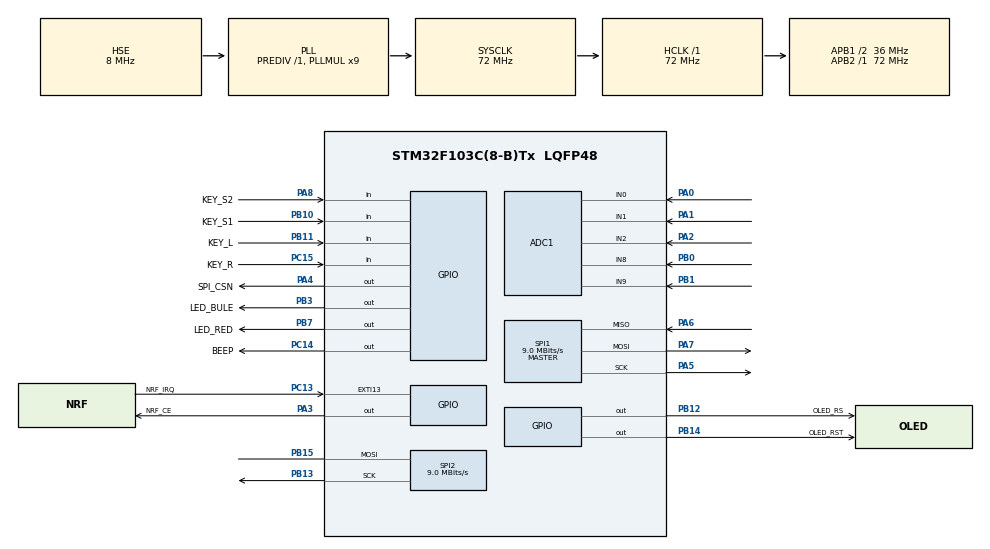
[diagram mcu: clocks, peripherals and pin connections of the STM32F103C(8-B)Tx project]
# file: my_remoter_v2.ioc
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ADC1.Channel-0\#ChannelRegularConversion=ADC_CHANNEL_0
ADC1.Channel-1\#ChannelRegularConversion=ADC_CHANNEL_1
ADC1.Channel-2\#ChannelRegularConversion=ADC_CHANNEL_2
ADC1.Channel-3\#ChannelRegularConversion=ADC_CHANNEL_8
ADC1.Channel-4\#ChannelRegularConversion=ADC_CHANNEL_9
ADC1.ContinuousConvMode=ENABLE
ADC1.NbrOfConversion=5
ADC1.NbrOfConversionFlag=1
ADC1.Rank-0\#ChannelRegularConversion=1
ADC1.Rank-1\#ChannelRegularConversion=2
ADC1.Rank-2\#ChannelRegularConversion=3
ADC1.Rank-3\#ChannelRegularConversion=4
ADC1.Rank-4\#ChannelRegularConversion=5
ADC1.SamplingTime-0\#ChannelRegularConversion=ADC_SAMPLETIME_239CYCLES_5
ADC1.SamplingTime-1\#ChannelRegularConversion=ADC_SAMPLETIME_239CYCLES_5
ADC1.SamplingTime-2\#ChannelRegularConversion=ADC_SAMPLETIME_239CYCLES_5
ADC1.SamplingTime-3\#ChannelRegularConversion=ADC_SAMPLETIME_239CYCLES_5
ADC1.SamplingTime-4\#ChannelRegularConversion=ADC_SAMPLETIME_239CYCLES_5
ADC1.master=1
Dma.ADC1.0.Direction=DMA_PERIPH_TO_MEMORY
Dma.ADC1.0.Instance=DMA1_Channel1
Dma.ADC1.0.MemDataAlignment=DMA_MDATAALIGN_HALFWORD
Dma.ADC1.0.MemInc=DMA_MINC_ENABLE
Dma.ADC1.0.Mode=DMA_CIRCULAR
Dma.ADC1.0.PeriphDataAlignment=DMA_PDATAALIGN_HALFWORD
Dma.ADC1.0.PeriphInc=DMA_PINC_DISABLE
Dma.ADC1.0.Priority=DMA_PRIORITY_HIGH
Dma.Request0=ADC1
Mcu.Family=STM32F1
Mcu.Name=STM32F103C(8-B)Tx
Mcu.Package=LQFP48
NVIC.DMA1_Channel1_IRQn=true\:0\:0\:false\:false\:true\:false\:true\:true
NVIC.EXTI15_10_IRQn=true\:6\:0\:true\:false\:true\:true\:true\:true
NVIC.PriorityGroup=NVIC_PRIORITYGROUP_4
NVIC.TIM4_IRQn=true\:15\:0\:false\:false\:true\:false\:true\:true
NVIC.TimeBase=TIM4_IRQn
NVIC.TimeBaseIP=TIM4
PA0-WKUP.Signal=ADCx_IN0
PA1.Signal=ADCx_IN1
PA13.Mode=Serial_Wire
PA13.Signal=SYS_JTMS-SWDIO
PA14.Mode=Serial_Wire
PA14.Signal=SYS_JTCK-SWCLK
PA2.Signal=ADCx_IN2
PA3.GPIO_Label=NRF_CE
PA3.GPIO_Speed=GPIO_SPEED_FREQ_HIGH
PA3.Signal=GPIO_Output
PA4.GPIO_Label=SPI_CSN
PA4.GPIO_Speed=GPIO_SPEED_FREQ_HIGH
PA4.PinState=GPIO_PIN_SET
PA4.Signal=GPIO_Output
PA5.Mode=Full_Duplex_Master
PA5.Signal=SPI1_SCK
PA6.Mode=Full_Duplex_Master
PA6.Signal=SPI1_MISO
PA7.Mode=Full_Duplex_Master
PA7.Signal=SPI1_MOSI
PA8.GPIO_Label=KEY_S2
PA8.GPIO_PuPd=GPIO_PULLUP
PA8.Signal=GPIO_Input
PB0.Signal=ADCx_IN8
PB1.Signal=ADCx_IN9
PB10.GPIO_Label=KEY_S1
PB10.GPIO_PuPd=GPIO_PULLUP
PB10.Signal=GPIO_Input
PB11.GPIO_Label=KEY_L
PB11.GPIO_PuPd=GPIO_PULLUP
PB11.Signal=GPIO_Input
PB12.GPIO_Label=OLED_RS
PB12.GPIO_Speed=GPIO_SPEED_FREQ_HIGH
PB12.PinState=GPIO_PIN_SET
PB12.Signal=GPIO_Output
PB13.Mode=Simplex_Bidirectional_Master
PB13.Signal=SPI2_SCK
PB14.GPIO_Label=OLED_RST
PB14.GPIO_Speed=GPIO_SPEED_FREQ_HIGH
PB14.PinState=GPIO_PIN_SET
PB14.Signal=GPIO_Output
PB15.Mode=Simplex_Bidirectional_Master
PB15.Signal=SPI2_MOSI
PB3.GPIO_Label=LED_BULE
PB3.GPIO_Speed=GPIO_SPEED_FREQ_HIGH
PB3.PinState=GPIO_PIN_SET
PB3.Signal=GPIO_Output
PB7.GPIO_Label=LED_RED
PB7.GPIO_Speed=GPIO_SPEED_FREQ_HIGH
PB7.PinState=GPIO_PIN_SET
PB7.Signal=GPIO_Output
PC13-TAMPER-RTC.GPIO_Label=NRF_IRQ
PC13-TAMPER-RTC.GPIO_ModeDefaultEXTI=GPIO_MODE_IT_FALLING
PC13-TAMPER-RTC.GPIO_PuPd=GPIO_PULLUP
PC13-TAMPER-RTC.Signal=GPXTI13
PC14-OSC32_IN.GPIO_Label=BEEP
PC14-OSC32_IN.GPIO_Speed=GPIO_SPEED_FREQ_HIGH
PC14-OSC32_IN.PinState=GPIO_PIN_RESET
PC14-OSC32_IN.Signal=GPIO_Output
PC15-OSC32_OUT.GPIO_Label=KEY_R
PC15-OSC32_OUT.GPIO_PuPd=GPIO_PULLUP
PC15-OSC32_OUT.Signal=GPIO_Input
PD0-OSC_IN.Mode=HSE-External-Oscillator
PD0-OSC_IN.Signal=RCC_OSC_IN
PD1-OSC_OUT.Mode=HSE-External-Oscillator
PD1-OSC_OUT.Signal=RCC_OSC_OUT
ProjectManager.HeapSize=0x200
ProjectManager.StackSize=0x400
ProjectManager.TargetToolchain=MDK-ARM V5.32
RCC.ADCPresc=RCC_ADCPCLK2_DIV6
RCC.AHBFreq_Value=72000000
RCC.APB1CLKDivider=RCC_HCLK_DIV2
RCC.APB1Freq_Value=36000000
RCC.APB1TimFreq_Value=72000000
RCC.APB2Freq_Value=72000000
RCC.APB2TimFreq_Value=72000000
RCC.HCLKFreq_Value=72000000
RCC.PLLMUL=RCC_PLL_MUL9
RCC.PLLSourceVirtual=RCC_PLLSOURCE_HSE
RCC.SYSCLKFreq_VALUE=72000000
RCC.SYSCLKSource=RCC_SYSCLKSOURCE_PLLCLK
RCC.USBFreq_Value=72000000
SH.ADCx_IN0.0=ADC1_IN0,IN0
SH.ADCx_IN1.0=ADC1_IN1,IN1
SH.ADCx_IN2.0=ADC1_IN2,IN2
SH.ADCx_IN8.0=ADC1_IN8,IN8
SH.ADCx_IN9.0=ADC1_IN9,IN9
SPI1.BaudRatePrescaler=SPI_BAUDRATEPRESCALER_8
SPI1.CRCCalculation=SPI_CRCCALCULATION_DISABLE
SPI1.CalculateBaudRate=9.0 MBits/s
SPI1.Direction=SPI_DIRECTION_2LINES
SPI1.Mode=SPI_MODE_MASTER
SPI1.VirtualType=VM_MASTER
SPI2.BaudRatePrescaler=SPI_BAUDRATEPRESCALER_4
SPI2.CLKPhase=SPI_PHASE_2EDGE
SPI2.CLKPolarity=SPI_POLARITY_HIGH
SPI2.CalculateBaudRate=9.0 MBits/s
SPI2.Direction=SPI_DIRECTION_1LINE
SPI2.Mode=SPI_MODE_MASTER
SPI2.VirtualType=VM_MASTER
VP_SYS_VS_tim4.Mode=TIM4
board=custom

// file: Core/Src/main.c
/* USER CODE BEGIN Header */
/**
  ******************************************************************************
  * @file           : main.c
  * @brief          : Main program body
  ******************************************************************************
  * @attention
  *
  * Copyright (c) 2026 STMicroelectronics.
  * All rights reserved.
  *
  * This software is licensed under terms that can be found in the LICENSE file
  * in the root directory of this software component.
  * If no LICENSE file comes with this software, it is provided AS-IS.
  *
  ******************************************************************************
  */
/* USER CODE END Header */
#include "main.h"
#include "adc.h"
#include "dma.h"
#include "spi.h"
#include "gpio.h"

/* USER CODE BEGIN Includes */
#include "led.h"
#include "key.h"
#include "oled.h"
#include "24l01.h"
#include "adc.h"
#include "hw_config.h"
#include "config_param.h"
#include "beep.h"
#include "radiolink.h"
#include "usblink.h"
#include "remoter_ctrl.h"
#include "atkp.h"
#include "display.h"
#include "keyTask.h"
/* FreeRtos includes */
#include "FreeRTOS.h"
#include "task.h"
/* USER CODE END Includes */

/* USER CODE BEGIN PV */
static TaskHandle_t startTaskHandle;
static void startTask(void *param);
/* USER CODE END PV */

void SystemClock_Config(void);

int main(void)
{

  /* MCU Configuration--------------------------------------------------------*/

  /* Reset of all peripherals, Initializes the Flash interface and the Systick. */
  HAL_Init();

  /* Configure the system clock */
  SystemClock_Config();

  /* Initialize all configured peripherals */
  MX_GPIO_Init();
  MX_DMA_Init();
  MX_SPI2_Init();
  MX_SPI1_Init();
  MX_ADC1_Init();
  /* USER CODE BEGIN 2 */

  /*Hardware Init*/

	configParamInit();
	//ledInit();
	oledInit();
	beepInit();
	//keyInit();
	joystickInit();
	//usb_vcp_init();

	radiolinkInit();
	usblinkInit();
	displayInit();

  /*work code*/
	xTaskCreate(startTask, "START_TASK", 100, NULL, 2, &startTaskHandle);/*������ʼ����*/
	vTaskStartScheduler();

  /* USER CODE END 2 */

  /* Infinite loop */
  while (1)
  {

  }
}

void SystemClock_Config(void)
{
  RCC_OscInitTypeDef RCC_OscInitStruct = {0};
  RCC_ClkInitTypeDef RCC_ClkInitStruct = {0};
  RCC_PeriphCLKInitTypeDef PeriphClkInit = {0};

  /** Initializes the RCC Oscillators according to the specified parameters
  * in the RCC_OscInitTypeDef structure.
  */
  RCC_OscInitStruct.OscillatorType = RCC_OSCILLATORTYPE_HSE;
  RCC_OscInitStruct.HSEState = RCC_HSE_ON;
  RCC_OscInitStruct.HSEPredivValue = RCC_HSE_PREDIV_DIV1;
  RCC_OscInitStruct.HSIState = RCC_HSI_ON;
  RCC_OscInitStruct.PLL.PLLState = RCC_PLL_ON;
  RCC_OscInitStruct.PLL.PLLSource = RCC_PLLSOURCE_HSE;
  RCC_OscInitStruct.PLL.PLLMUL = RCC_PLL_MUL9;
  if (HAL_RCC_OscConfig(&RCC_OscInitStruct) != HAL_OK)
  {
    Error_Handler();
  }

  /** Initializes the CPU, AHB and APB buses clocks
  */
  RCC_ClkInitStruct.ClockType = RCC_CLOCKTYPE_HCLK|RCC_CLOCKTYPE_SYSCLK
                              |RCC_CLOCKTYPE_PCLK1|RCC_CLOCKTYPE_PCLK2;
  RCC_ClkInitStruct.SYSCLKSource = RCC_SYSCLKSOURCE_PLLCLK;
  RCC_ClkInitStruct.AHBCLKDivider = RCC_SYSCLK_DIV1;
  RCC_ClkInitStruct.APB1CLKDivider = RCC_HCLK_DIV2;
  RCC_ClkInitStruct.APB2CLKDivider = RCC_HCLK_DIV1;

  if (HAL_RCC_ClockConfig(&RCC_ClkInitStruct, FLASH_LATENCY_2) != HAL_OK)
  {
    Error_Handler();
  }
  PeriphClkInit.PeriphClockSelection = RCC_PERIPHCLK_ADC;
  PeriphClkInit.AdcClockSelection = RCC_ADCPCLK2_DIV6;
  if (HAL_RCCEx_PeriphCLKConfig(&PeriphClkInit) != HAL_OK)
  {
    Error_Handler();
  }
}

/* USER CODE BEGIN 4 */
void startTask(void *param)
{
	taskENTER_CRITICAL();

	xTaskCreate(radiolinkTask, "RADIOLINK", 100, NULL, 6, &radiolinkTaskHandle);

	xTaskCreate(commanderTask, "COMMANDER", 100, NULL, 4, NULL);

	xTaskCreate(keyTask, "BUTTON_SCAN", 100, NULL, 3, NULL);

	xTaskCreate(displayTask, "DISPLAY", 200, NULL, 1, NULL);

	xTaskCreate(configParamTask, "CONFIG_TASK", 100, NULL, 1, NULL);

	xTaskCreate(radiolinkDataProcessTask, "DATA_PROCESS", 100, NULL, 6, NULL);

	vTaskDelete(startTaskHandle);

	taskEXIT_CRITICAL();
}

void vApplicationIdleHook( void )
{
    __WFI();
}
/* USER CODE END 4 */

void HAL_TIM_PeriodElapsedCallback(TIM_HandleTypeDef *htim)
{
  if (htim->Instance == TIM4)
  {
    HAL_IncTick();
  }
}

void Error_Handler(void)
{
  __disable_irq();
  while (1)
  {
  }
}
